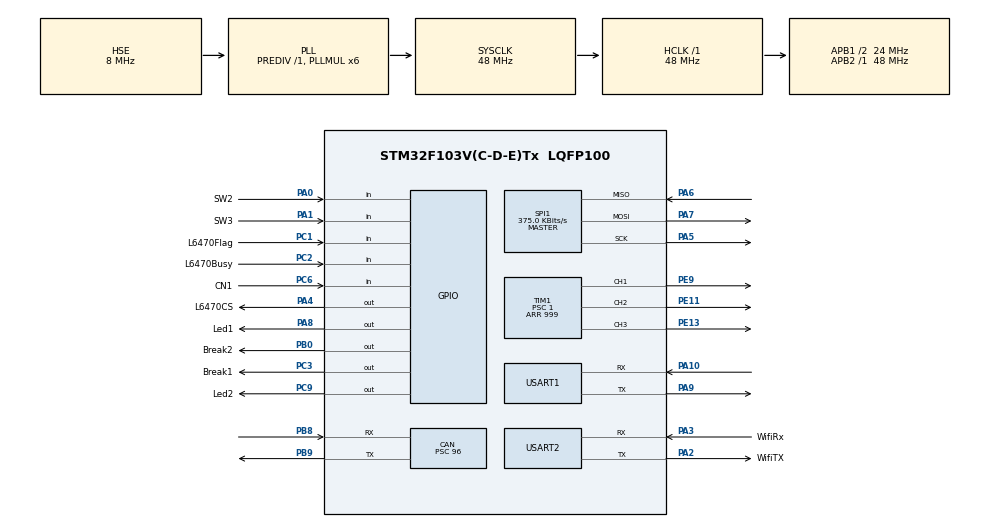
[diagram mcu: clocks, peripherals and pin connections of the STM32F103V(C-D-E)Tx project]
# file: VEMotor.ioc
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CAN.BS1=CAN_BS1_4TQ
CAN.BS2=CAN_BS2_2TQ
CAN.CalculateTimeBit=28000
CAN.CalculateTimeQuantum=4000.0
CAN.NART=DISABLE
CAN.Prescaler=96
CAN.TXFP=DISABLE
Dma.Request0=USART1_RX
Dma.Request1=USART1_TX
Dma.Request2=USART2_RX
Dma.Request3=USART2_TX
Dma.USART1_RX.0.Direction=DMA_PERIPH_TO_MEMORY
Dma.USART1_RX.0.Instance=DMA1_Channel5
Dma.USART1_RX.0.MemDataAlignment=DMA_MDATAALIGN_BYTE
Dma.USART1_RX.0.MemInc=DMA_MINC_ENABLE
Dma.USART1_RX.0.Mode=DMA_CIRCULAR
Dma.USART1_RX.0.PeriphDataAlignment=DMA_PDATAALIGN_BYTE
Dma.USART1_RX.0.PeriphInc=DMA_PINC_DISABLE
Dma.USART1_RX.0.Priority=DMA_PRIORITY_LOW
Dma.USART1_TX.1.Direction=DMA_MEMORY_TO_PERIPH
Dma.USART1_TX.1.Instance=DMA1_Channel4
Dma.USART1_TX.1.MemDataAlignment=DMA_MDATAALIGN_BYTE
Dma.USART1_TX.1.MemInc=DMA_MINC_ENABLE
Dma.USART1_TX.1.Mode=DMA_NORMAL
Dma.USART1_TX.1.PeriphDataAlignment=DMA_PDATAALIGN_BYTE
Dma.USART1_TX.1.PeriphInc=DMA_PINC_DISABLE
Dma.USART1_TX.1.Priority=DMA_PRIORITY_LOW
Dma.USART2_RX.2.Direction=DMA_PERIPH_TO_MEMORY
Dma.USART2_RX.2.Instance=DMA1_Channel6
Dma.USART2_RX.2.MemDataAlignment=DMA_MDATAALIGN_BYTE
Dma.USART2_RX.2.MemInc=DMA_MINC_ENABLE
Dma.USART2_RX.2.Mode=DMA_CIRCULAR
Dma.USART2_RX.2.PeriphDataAlignment=DMA_PDATAALIGN_BYTE
Dma.USART2_RX.2.PeriphInc=DMA_PINC_DISABLE
Dma.USART2_RX.2.Priority=DMA_PRIORITY_LOW
Dma.USART2_TX.3.Direction=DMA_MEMORY_TO_PERIPH
Dma.USART2_TX.3.Instance=DMA1_Channel7
Dma.USART2_TX.3.MemDataAlignment=DMA_MDATAALIGN_BYTE
Dma.USART2_TX.3.MemInc=DMA_MINC_ENABLE
Dma.USART2_TX.3.Mode=DMA_NORMAL
Dma.USART2_TX.3.PeriphDataAlignment=DMA_PDATAALIGN_BYTE
Dma.USART2_TX.3.PeriphInc=DMA_PINC_DISABLE
Dma.USART2_TX.3.Priority=DMA_PRIORITY_LOW
Mcu.Family=STM32F1
Mcu.Name=STM32F103V(C-D-E)Tx
Mcu.Package=LQFP100
NVIC.CAN1_RX1_IRQn=true\:0\:0\:false\:false\:true\:true\:true
NVIC.DMA1_Channel4_IRQn=true\:1\:0\:true\:false\:true\:false\:true
NVIC.DMA1_Channel5_IRQn=true\:1\:0\:true\:false\:true\:false\:true
NVIC.DMA1_Channel6_IRQn=true\:1\:0\:true\:false\:true\:false\:true
NVIC.DMA1_Channel7_IRQn=true\:1\:0\:true\:false\:true\:false\:true
NVIC.PriorityGroup=NVIC_PRIORITYGROUP_4
NVIC.USART1_IRQn=true\:2\:0\:true\:false\:true\:true\:true
NVIC.USART2_IRQn=true\:2\:0\:true\:false\:true\:true\:true
NVIC.USB_LP_CAN1_RX0_IRQn=true\:1\:0\:true\:false\:true\:true\:true
OSC_IN.Mode=HSE-External-Oscillator
OSC_IN.Signal=RCC_OSC_IN
OSC_OUT.Mode=HSE-External-Oscillator
OSC_OUT.Signal=RCC_OSC_OUT
PA0-WKUP.GPIO_Label=SW2
PA0-WKUP.GPIO_PuPd=GPIO_PULLUP
PA0-WKUP.Signal=GPIO_Input
PA1.GPIO_Label=SW3
PA1.GPIO_PuPd=GPIO_PULLUP
PA1.Signal=GPIO_Input
PA10.GPIO_PuPd=GPIO_PULLDOWN
PA10.Mode=Asynchronous
PA10.Signal=USART1_RX
PA13.Mode=Serial_Wire
PA13.Signal=SYS_JTMS-SWDIO
PA14.Mode=Serial_Wire
PA14.Signal=SYS_JTCK-SWCLK
PA2.GPIO_Label=WifiTX
PA2.Mode=Asynchronous
PA2.Signal=USART2_TX
PA3.GPIO_Label=WifiRx
PA3.Mode=Asynchronous
PA3.Signal=USART2_RX
PA4.GPIO_Label=L6470CS
PA4.Signal=GPIO_Output
PA5.Mode=Full_Duplex_Master
PA5.Signal=SPI1_SCK
PA6.Mode=Full_Duplex_Master
PA6.Signal=SPI1_MISO
PA7.Mode=Full_Duplex_Master
PA7.Signal=SPI1_MOSI
PA8.GPIO_Label=Led1
PA8.Signal=GPIO_Output
PA9.Mode=Asynchronous
PA9.Signal=USART1_TX
PB0.GPIO_Label=Break2
PB0.GPIO_PuPd=GPIO_PULLDOWN
PB0.Signal=GPIO_Output
PB8.Mode=Master
PB8.Signal=CAN_RX
PB9.Mode=Master
PB9.Signal=CAN_TX
PC1.GPIO_Label=L6470Flag
PC1.GPIO_PuPd=GPIO_PULLUP
PC1.Signal=GPIO_Input
PC2.GPIO_Label=L6470Busy
PC2.GPIO_PuPd=GPIO_PULLUP
PC2.Signal=GPIO_Input
PC3.GPIO_Label=Break1
PC3.GPIO_PuPd=GPIO_PULLDOWN
PC3.Signal=GPIO_Output
PC6.GPIO_Label=CN1
PC6.Signal=GPIO_Input
PC9.GPIO_Label=Led2
PC9.Signal=GPIO_Output
PE11.Signal=S_TIM1_CH2
PE13.Signal=S_TIM1_CH3
PE9.Signal=S_TIM1_CH1
ProjectManager.HeapSize=0x200
ProjectManager.StackSize=0x400
ProjectManager.TargetToolchain=STM32CubeIDE
RCC.AHBFreq_Value=48000000
RCC.APB1CLKDivider=RCC_HCLK_DIV2
RCC.APB1Freq_Value=24000000
RCC.APB1TimFreq_Value=48000000
RCC.APB2Freq_Value=48000000
RCC.APB2TimFreq_Value=48000000
RCC.HCLKFreq_Value=48000000
RCC.PLLMUL=RCC_PLL_MUL6
RCC.PLLSourceVirtual=RCC_PLLSOURCE_HSE
RCC.SYSCLKFreq_VALUE=48000000
RCC.SYSCLKSource=RCC_SYSCLKSOURCE_PLLCLK
RCC.USBFreq_Value=48000000
SH.S_TIM1_CH1.0=TIM1_CH1,PWM Generation1 CH1
SH.S_TIM1_CH2.0=TIM1_CH2,PWM Generation2 CH2
SH.S_TIM1_CH3.0=TIM1_CH3,PWM Generation3 CH3
SPI1.BaudRatePrescaler=SPI_BAUDRATEPRESCALER_128
SPI1.CLKPhase=SPI_PHASE_2EDGE
SPI1.CLKPolarity=SPI_POLARITY_HIGH
SPI1.CRCCalculation=SPI_CRCCALCULATION_DISABLE
SPI1.CalculateBaudRate=375.0 KBits/s
SPI1.Direction=SPI_DIRECTION_2LINES
SPI1.Mode=SPI_MODE_MASTER
SPI1.VirtualType=VM_MASTER
TIM1.Channel-PWM\ Generation1\ CH1=TIM_CHANNEL_1
TIM1.Channel-PWM\ Generation2\ CH2=TIM_CHANNEL_2
TIM1.Channel-PWM\ Generation3\ CH3=TIM_CHANNEL_3
TIM1.Period=999
TIM1.Prescaler=1
USART1.VirtualMode=VM_ASYNC
USART2.VirtualMode=VM_ASYNC
VP_TIM1_VS_ClockSourceINT.Mode=Internal
board=custom

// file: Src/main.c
/* USER CODE BEGIN Header */
/**
 ******************************************************************************
 * @file           : main.c
 * @brief          : Main program body
 ******************************************************************************
 * @attention
 *
 * <h2><center>&copy; Copyright (c) 2020 STMicroelectronics.
 * All rights reserved.</center></h2>
 *
 * This software component is licensed by ST under BSD 3-Clause license,
 * the "License"; You may not use this file except in compliance with the
 * License. You may obtain a copy of the License at:
 *                        opensource.org/licenses/BSD-3-Clause
 *
 ******************************************************************************
 */
/* USER CODE END Header */

#include "main.h"

/* USER CODE BEGIN Includes */
#include <string.h>
#include <stdio.h>
#include "Dspin/dspin.h"
#include "config.h"
#include "util.h"
#include "cycletick.h"
#include "log_uart.h"
#include "inputbuf.h"

#include "lm.h"
#include "can_io.h"
#include "command.h"
#include "led.h"
#include "flash.h"

#if WIFI_ENABLE==1
#include "wifi8266/wifi_8266_mod.h"
#endif

/* USER CODE END Includes */

CAN_HandleTypeDef hcan;

SPI_HandleTypeDef hspi1;

TIM_HandleTypeDef htim1;

UART_HandleTypeDef huart1;
UART_HandleTypeDef huart2;
DMA_HandleTypeDef hdma_usart1_rx;
DMA_HandleTypeDef hdma_usart1_tx;
DMA_HandleTypeDef hdma_usart2_rx;
DMA_HandleTypeDef hdma_usart2_tx;

/* USER CODE BEGIN PV */

/* runtime variables */
// led
int led1_blink = 0;
int led2_blink = 0;

// cn1 press
int lm_home_set = 0; // 在CN1按下的期间有没有校准过HOME位置

// motor
struct lm_handle lmh;
struct lm_handle *plmh = &lmh;

// usart input buffer
struct inputbuf userbuf;

// reset tick
uint32_t chip_reset_time = 0;
/* USER CODE END PV */

void SystemClock_Config(void);
static void MX_GPIO_Init(void);
static void MX_DMA_Init(void);
static void MX_SPI1_Init(void);
static void MX_USART1_UART_Init(void);
static void MX_CAN_Init(void);
static void MX_USART2_UART_Init(void);
static void MX_TIM1_Init(void);
/* USER CODE BEGIN PFP */
void detect_cn1();
void detect_sw2();
void detect_sw3();
void main_can_isr(uint8_t *data, uint8_t len, uint16_t from, _Bool is_broadcast);
void can_reply_isr(_Bool ok, uint16_t from);
void led1_flip();
void led2_flip();
void txcplt_report();
void stm_chip_reset_commit();
void load_configurations();
/* USER CODE END PFP */

int main(void) {

	/* MCU Configuration--------------------------------------------------------*/

	/* Reset of all peripherals, Initializes the Flash interface and the Systick. */
	HAL_Init();

	/* Configure the system clock */
	SystemClock_Config();

	/* Initialize all configured peripherals */
	MX_GPIO_Init();
	MX_DMA_Init();
	MX_SPI1_Init();
	MX_USART1_UART_Init();
	MX_CAN_Init();
	MX_USART2_UART_Init();
	MX_TIM1_Init();
	/* USER CODE BEGIN 2 */

	// init log module first for basic output
	logu_init(&huart1, LOGU_DMA);
	// logu_setlevel(LOGU_DEBUG);
	logu_setlevel(LOGU_TRACE);

	// 初始化的过程
	logu_s(LOGU_DEBUG, "Start initializing.");
	load_configurations();
	can_init(machine_id);
	can_set_cmdlistener(main_can_isr);
	can_set_replylistener(can_reply_isr);
	// motor init
	logu_s(LOGU_DEBUG, "Wait 0.3s for L6470 init.");
	HAL_Delay(300);
	L6470_Configuration1();
	lm_init(plmh);
	// led init
	led_init(&htim1, TIM_CHANNEL_2, TIM_CHANNEL_3, TIM_CHANNEL_1);
	// user inputbuf
	inputbuf_init_stack(&userbuf, &huart1);
	flash_init();

#if WIFI_ENABLE == 1
	logu_s(LOGU_DEBUG, "Wait 2 seconds for ESP8266 to init.");
	while (HAL_GetTick() < 2000) {
	} // wait some time for ESP8266 init
#if INIT_WIFI_CONNECT == 1
	uint32_t tick1 = HAL_GetTick();
	uint32_t wait_time = machine_id * WIFI_INIT_CONNECT_TIME_INTEVAL;
	logu_f(LOGU_INFO, "Wait %u seconds for non-collision WiFi connection.", wait_time / 1000);
	while (HAL_GetTick() - tick1 < wait_time) {
	}
	wifi_autosetup_tasklist();
#endif
#endif

#if INIT_MOTOR_MOVE == 1
	logu_s(LOGU_DEBUG, "Moving to initial position.");
	lm_append_newcmd(plmh, lm_cmd_speed, 10000, 1);
	if (lm_commit(plmh)) {
		uint32_t init_tick = HAL_GetTick();
		while (1) {
			detect_cn1();
			if (cn1_pressed()) {
				logu_s(LOGU_DEBUG, "Moving finished");
				lm_append_newcmd(plmh, lm_cmd_stop, 0, 0);
				lm_commit(plmh);
				break;
			} else if (HAL_GetTick() - init_tick > 10000) {
				logu_s(LOGU_ERROR, "Moving timeout.");
				lm_append_newcmd(plmh, lm_cmd_stop, 0, 0);
				lm_commit(plmh);
				break;
			}
		}
	} else {
		logu_s(LOGU_ERROR, "Reset position failed.");
	}
#else
	logu_s(LOGU_DEBUG, "Skip motor move.");
#endif

	logu_s(LOGU_DEBUG, "Initialize finished.");

	// input receive kick start
	inputbuf_start(&userbuf);

#if WIFI_ENABLE==1
	// WiFi receive kick start
	huart2.Instance->SR;
	huart2.Instance->DR;
	__HAL_UART_ENABLE_IT(&huart2, UART_IT_IDLE);
	HAL_UART_Receive_DMA(&huart2, (uint8_t*) (wifi_gethandler()->recv.data), WIFI_RECV_DMA_RANGE);
#endif

	// turn off LED2 after init
	Led2_GPIO_Port->ODR |= Led2_Pin;

	logu_s(LOGU_DEBUG, "Start listening.");

	/* USER CODE END 2 */

	/* Infinite loop */
	/* USER CODE BEGIN WHILE */
	while (1) {
		cycletick_start();
		if(chip_reset_time && HAL_GetTick() > chip_reset_time) {
			stm_chip_reset_commit();
		}

		if (led1_blink) {
			if (cycletick_everyms(led1_blink)) {
				led1_flip();
			}
		}
		if (led2_blink) {
			if (cycletick_everyms(led2_blink)) {
				led2_flip();
			}
		}

		// detect switch on CN1
		detect_cn1();
		detect_sw2();
		detect_sw3();

		// motor state refresh
		lm_tick(plmh);
		// led grad
		led_tick();

#if WIFI_ENABLE == 1
		// wifi received data to user serial
		wifi_rx_to_uart();
		// try to parse wifi received data as a command
		wifi_parse_cmd(plmh);
		// wifi tick
		wifi_tick(wifi_gethandler(), wifi_tick_callback);
#if WIFI_CHECK_TCP == 1
		if (cycletick_everyms(10000))
			wifi_check_connection_tasklist();
#endif

#if WIFI_GREET == 1
		// wifi greets every ten second
		wifi_greet_1();
#endif
#endif

		// read input buffer and switch
		command_read(plmh);

		// cycle test 放在输入的位置后面
		mcycle_cmd(plmh, cycletick_getcount());

		// 在这里取出读入的第一条指令，我们限制每次主循环只在电机上执行一条指令，
		// 这是为了时序和逻辑安全最好的办法。
		// 取出指令的目的是为了检测这条指令需不需要被覆盖取消。
		// 覆盖指令的操作都要确保这个指令之后确实用不到，不需要在下个周期重新触发。
		struct lm_cmd *lcf = lm_first(plmh);
		if (lcf == NULL) {
			// 如果命令队列是空的话，那么这里制作一个命令。
			lm_append_newcmd(plmh, lm_cmd_empty, 0, 0);
			lcf = lm_first(plmh);
		}
		struct lm_model lmmod = plmh->mod; // make a copy of volatile model

		// if cn1 is pressed only stop 1 - FWD - close direction
		if (cn1_pressed()) {
			// cn1 按下的时候重置 home，这个只能在按下期间执行，
			// 因为在 pos 状态下重置 home 会发生惨剧，会把现在高速移动的某个位置标记成HOME，
			// 导致在向外移动的过程里面如果按下HOME那么就会冲出范围。
			// 在向内移动的过程中按下HOME会在下一次向外运动的时候冲出范围。
			// 所以以我关闭了pos运动模式里面的误差矫正。
			// 只有匀速运动的模式里面按下cn1会矫正位置。
			// 如果要解决越来越向内的误差的话，在使用POS命令的时候，在收回的时候留一些空档。
			if (!lm_home_set && lmmod.state != lm_state_pos) {
				logu_s(LOGU_INFO, "Set home");
				lcf->type = lm_cmd_set_home;
			}
			if ((lcf->type == lm_cmd_speed && lcf->dir_hard == 1)
					|| (lcf->type == lm_cmd_relapos && lcf->pos_speed > 0)
					|| ((lmmod.state == lm_state_speed || lmmod.state == lm_state_relapos) && lmmod.dir == 1)
					|| (lcf->type == lm_cmd_pos && lcf->pos_speed > 0)
					|| (lmmod.state == lm_state_pos && lmmod.pos > 0)) {
				logu_s(LOGU_WARN, "Stop motor due to CN1.");
				lcf->type = lm_cmd_stop;
				lcf->dir_hard = 1;
			}
		} else {
			lm_home_set = 0;
		}

		// TODO 如果过冲进入了大电流保护状态那么重置 L6470
		//
		/* USER CODE END WHILE */

		/* USER CODE BEGIN 3 */
		if (lcf->type == lm_cmd_set_home) {
			lm_home_set = 1;
		}
		lm_commit(plmh);
		// log report
#ifdef LOG_TXCPLT_REPORT
		txcplt_report();
#endif
		cycletick_sleeptoend();
	}
	/* USER CODE END 3 */
}

void SystemClock_Config(void) {
	RCC_OscInitTypeDef RCC_OscInitStruct = { 0 };
	RCC_ClkInitTypeDef RCC_ClkInitStruct = { 0 };

	/** Initializes the CPU, AHB and APB busses clocks
	 */
	RCC_OscInitStruct.OscillatorType = RCC_OSCILLATORTYPE_HSE;
	RCC_OscInitStruct.HSEState = RCC_HSE_ON;
	RCC_OscInitStruct.HSEPredivValue = RCC_HSE_PREDIV_DIV1;
	RCC_OscInitStruct.HSIState = RCC_HSI_ON;
	RCC_OscInitStruct.PLL.PLLState = RCC_PLL_ON;
	RCC_OscInitStruct.PLL.PLLSource = RCC_PLLSOURCE_HSE;
	RCC_OscInitStruct.PLL.PLLMUL = RCC_PLL_MUL6;
	if (HAL_RCC_OscConfig(&RCC_OscInitStruct) != HAL_OK) {
		Error_Handler();
	}
	/** Initializes the CPU, AHB and APB busses clocks
	 */
	RCC_ClkInitStruct.ClockType = RCC_CLOCKTYPE_HCLK | RCC_CLOCKTYPE_SYSCLK | RCC_CLOCKTYPE_PCLK1 | RCC_CLOCKTYPE_PCLK2;
	RCC_ClkInitStruct.SYSCLKSource = RCC_SYSCLKSOURCE_PLLCLK;
	RCC_ClkInitStruct.AHBCLKDivider = RCC_SYSCLK_DIV1;
	RCC_ClkInitStruct.APB1CLKDivider = RCC_HCLK_DIV2;
	RCC_ClkInitStruct.APB2CLKDivider = RCC_HCLK_DIV1;

	if (HAL_RCC_ClockConfig(&RCC_ClkInitStruct, FLASH_LATENCY_1) != HAL_OK) {
		Error_Handler();
	}
}

static void MX_CAN_Init(void) {

	hcan.Instance = CAN1;
	hcan.Init.Prescaler = 96;
	hcan.Init.Mode = CAN_MODE_NORMAL;
	hcan.Init.SyncJumpWidth = CAN_SJW_1TQ;
	hcan.Init.TimeSeg1 = CAN_BS1_4TQ;
	hcan.Init.TimeSeg2 = CAN_BS2_2TQ;
	hcan.Init.TimeTriggeredMode = DISABLE;
	hcan.Init.AutoBusOff = DISABLE;
	hcan.Init.AutoWakeUp = DISABLE;
	hcan.Init.AutoRetransmission = DISABLE;
	hcan.Init.ReceiveFifoLocked = DISABLE;
	hcan.Init.TransmitFifoPriority = DISABLE;
	if (HAL_CAN_Init(&hcan) != HAL_OK) {
		Error_Handler();
	}

}

static void MX_SPI1_Init(void) {

	/* SPI1 parameter configuration*/
	hspi1.Instance = SPI1;
	hspi1.Init.Mode = SPI_MODE_MASTER;
	hspi1.Init.Direction = SPI_DIRECTION_2LINES;
	hspi1.Init.DataSize = SPI_DATASIZE_8BIT;
	hspi1.Init.CLKPolarity = SPI_POLARITY_HIGH;
	hspi1.Init.CLKPhase = SPI_PHASE_2EDGE;
	hspi1.Init.NSS = SPI_NSS_SOFT;
	hspi1.Init.BaudRatePrescaler = SPI_BAUDRATEPRESCALER_128;
	hspi1.Init.FirstBit = SPI_FIRSTBIT_MSB;
	hspi1.Init.TIMode = SPI_TIMODE_DISABLE;
	hspi1.Init.CRCCalculation = SPI_CRCCALCULATION_DISABLE;
	hspi1.Init.CRCPolynomial = 10;
	if (HAL_SPI_Init(&hspi1) != HAL_OK) {
		Error_Handler();
	}

}

static void MX_TIM1_Init(void) {

	TIM_ClockConfigTypeDef sClockSourceConfig = { 0 };
	TIM_MasterConfigTypeDef sMasterConfig = { 0 };
	TIM_OC_InitTypeDef sConfigOC = { 0 };
	TIM_BreakDeadTimeConfigTypeDef sBreakDeadTimeConfig = { 0 };

	htim1.Instance = TIM1;
	htim1.Init.Prescaler = 1;
	htim1.Init.CounterMode = TIM_COUNTERMODE_UP;
	htim1.Init.Period = 999;
	htim1.Init.ClockDivision = TIM_CLOCKDIVISION_DIV1;
	htim1.Init.RepetitionCounter = 0;
	htim1.Init.AutoReloadPreload = TIM_AUTORELOAD_PRELOAD_DISABLE;
	if (HAL_TIM_Base_Init(&htim1) != HAL_OK) {
		Error_Handler();
	}
	sClockSourceConfig.ClockSource = TIM_CLOCKSOURCE_INTERNAL;
	if (HAL_TIM_ConfigClockSource(&htim1, &sClockSourceConfig) != HAL_OK) {
		Error_Handler();
	}
	if (HAL_TIM_PWM_Init(&htim1) != HAL_OK) {
		Error_Handler();
	}
	sMasterConfig.MasterOutputTrigger = TIM_TRGO_RESET;
	sMasterConfig.MasterSlaveMode = TIM_MASTERSLAVEMODE_DISABLE;
	if (HAL_TIMEx_MasterConfigSynchronization(&htim1, &sMasterConfig) != HAL_OK) {
		Error_Handler();
	}
	sConfigOC.OCMode = TIM_OCMODE_PWM1;
	sConfigOC.Pulse = 0;
	sConfigOC.OCPolarity = TIM_OCPOLARITY_HIGH;
	sConfigOC.OCNPolarity = TIM_OCNPOLARITY_HIGH;
	sConfigOC.OCFastMode = TIM_OCFAST_DISABLE;
	sConfigOC.OCIdleState = TIM_OCIDLESTATE_RESET;
	sConfigOC.OCNIdleState = TIM_OCNIDLESTATE_RESET;
	if (HAL_TIM_PWM_ConfigChannel(&htim1, &sConfigOC, TIM_CHANNEL_1) != HAL_OK) {
		Error_Handler();
	}
	if (HAL_TIM_PWM_ConfigChannel(&htim1, &sConfigOC, TIM_CHANNEL_2) != HAL_OK) {
		Error_Handler();
	}
	if (HAL_TIM_PWM_ConfigChannel(&htim1, &sConfigOC, TIM_CHANNEL_3) != HAL_OK) {
		Error_Handler();
	}
	sBreakDeadTimeConfig.OffStateRunMode = TIM_OSSR_DISABLE;
	sBreakDeadTimeConfig.OffStateIDLEMode = TIM_OSSI_DISABLE;
	sBreakDeadTimeConfig.LockLevel = TIM_LOCKLEVEL_OFF;
	sBreakDeadTimeConfig.DeadTime = 0;
	sBreakDeadTimeConfig.BreakState = TIM_BREAK_DISABLE;
	sBreakDeadTimeConfig.BreakPolarity = TIM_BREAKPOLARITY_HIGH;
	sBreakDeadTimeConfig.AutomaticOutput = TIM_AUTOMATICOUTPUT_DISABLE;
	if (HAL_TIMEx_ConfigBreakDeadTime(&htim1, &sBreakDeadTimeConfig) != HAL_OK) {
		Error_Handler();
	}
	HAL_TIM_MspPostInit(&htim1);

}

static void MX_USART1_UART_Init(void) {

	huart1.Instance = USART1;
	huart1.Init.BaudRate = 115200;
	huart1.Init.WordLength = UART_WORDLENGTH_8B;
	huart1.Init.StopBits = UART_STOPBITS_1;
	huart1.Init.Parity = UART_PARITY_NONE;
	huart1.Init.Mode = UART_MODE_TX_RX;
	huart1.Init.HwFlowCtl = UART_HWCONTROL_NONE;
	huart1.Init.OverSampling = UART_OVERSAMPLING_16;
	if (HAL_UART_Init(&huart1) != HAL_OK) {
		Error_Handler();
	}

}

static void MX_USART2_UART_Init(void) {

	huart2.Instance = USART2;
	huart2.Init.BaudRate = 115200;
	huart2.Init.WordLength = UART_WORDLENGTH_8B;
	huart2.Init.StopBits = UART_STOPBITS_1;
	huart2.Init.Parity = UART_PARITY_NONE;
	huart2.Init.Mode = UART_MODE_TX_RX;
	huart2.Init.HwFlowCtl = UART_HWCONTROL_NONE;
	huart2.Init.OverSampling = UART_OVERSAMPLING_16;
	if (HAL_UART_Init(&huart2) != HAL_OK) {
		Error_Handler();
	}

}

static void MX_DMA_Init(void) {

	/* DMA controller clock enable */
	__HAL_RCC_DMA1_CLK_ENABLE();

	/* DMA interrupt init */
	/* DMA1_Channel4_IRQn interrupt configuration */
	HAL_NVIC_SetPriority(DMA1_Channel4_IRQn, 1, 0);
	HAL_NVIC_EnableIRQ(DMA1_Channel4_IRQn);
	/* DMA1_Channel5_IRQn interrupt configuration */
	HAL_NVIC_SetPriority(DMA1_Channel5_IRQn, 1, 0);
	HAL_NVIC_EnableIRQ(DMA1_Channel5_IRQn);
	/* DMA1_Channel6_IRQn interrupt configuration */
	HAL_NVIC_SetPriority(DMA1_Channel6_IRQn, 1, 0);
	HAL_NVIC_EnableIRQ(DMA1_Channel6_IRQn);
	/* DMA1_Channel7_IRQn interrupt configuration */
	HAL_NVIC_SetPriority(DMA1_Channel7_IRQn, 1, 0);
	HAL_NVIC_EnableIRQ(DMA1_Channel7_IRQn);

}

static void MX_GPIO_Init(void) {
	GPIO_InitTypeDef GPIO_InitStruct = { 0 };

	/* GPIO Ports Clock Enable */
	__HAL_RCC_GPIOC_CLK_ENABLE();
	__HAL_RCC_GPIOA_CLK_ENABLE();
	__HAL_RCC_GPIOB_CLK_ENABLE();
	__HAL_RCC_GPIOE_CLK_ENABLE();

	/*Configure GPIO pin Output Level */
	HAL_GPIO_WritePin(GPIOC, Break1_Pin | Led2_Pin, GPIO_PIN_RESET);

	/*Configure GPIO pin Output Level */
	HAL_GPIO_WritePin(GPIOA, L6470CS_Pin | Led1_Pin, GPIO_PIN_RESET);

	/*Configure GPIO pin Output Level */
	HAL_GPIO_WritePin(Break2_GPIO_Port, Break2_Pin, GPIO_PIN_RESET);

	/*Configure GPIO pins : L6470Flag_Pin L6470Busy_Pin */
	GPIO_InitStruct.Pin = L6470Flag_Pin | L6470Busy_Pin;
	GPIO_InitStruct.Mode = GPIO_MODE_INPUT;
	GPIO_InitStruct.Pull = GPIO_PULLUP;
	HAL_GPIO_Init(GPIOC, &GPIO_InitStruct);

	/*Configure GPIO pin : Break1_Pin */
	GPIO_InitStruct.Pin = Break1_Pin;
	GPIO_InitStruct.Mode = GPIO_MODE_OUTPUT_PP;
	GPIO_InitStruct.Pull = GPIO_PULLDOWN;
	GPIO_InitStruct.Speed = GPIO_SPEED_FREQ_LOW;
	HAL_GPIO_Init(Break1_GPIO_Port, &GPIO_InitStruct);

	/*Configure GPIO pins : SW2_Pin SW3_Pin */
	GPIO_InitStruct.Pin = SW2_Pin | SW3_Pin;
	GPIO_InitStruct.Mode = GPIO_MODE_INPUT;
	GPIO_InitStruct.Pull = GPIO_PULLUP;
	HAL_GPIO_Init(GPIOA, &GPIO_InitStruct);

	/*Configure GPIO pins : L6470CS_Pin Led1_Pin */
	GPIO_InitStruct.Pin = L6470CS_Pin | Led1_Pin;
	GPIO_InitStruct.Mode = GPIO_MODE_OUTPUT_PP;
	GPIO_InitStruct.Pull = GPIO_NOPULL;
	GPIO_InitStruct.Speed = GPIO_SPEED_FREQ_LOW;
	HAL_GPIO_Init(GPIOA, &GPIO_InitStruct);

	/*Configure GPIO pin : Break2_Pin */
	GPIO_InitStruct.Pin = Break2_Pin;
	GPIO_InitStruct.Mode = GPIO_MODE_OUTPUT_PP;
	GPIO_InitStruct.Pull = GPIO_PULLDOWN;
	GPIO_InitStruct.Speed = GPIO_SPEED_FREQ_LOW;
	HAL_GPIO_Init(Break2_GPIO_Port, &GPIO_InitStruct);

	/*Configure GPIO pin : CN1_Pin */
	GPIO_InitStruct.Pin = CN1_Pin;
	GPIO_InitStruct.Mode = GPIO_MODE_INPUT;
	GPIO_InitStruct.Pull = GPIO_NOPULL;
	HAL_GPIO_Init(CN1_GPIO_Port, &GPIO_InitStruct);

	/*Configure GPIO pin : Led2_Pin */
	GPIO_InitStruct.Pin = Led2_Pin;
	GPIO_InitStruct.Mode = GPIO_MODE_OUTPUT_PP;
	GPIO_InitStruct.Pull = GPIO_NOPULL;
	GPIO_InitStruct.Speed = GPIO_SPEED_FREQ_LOW;
	HAL_GPIO_Init(Led2_GPIO_Port, &GPIO_InitStruct);

}

/* USER CODE BEGIN 4 */
// ----------- Interrupts
// DMA Signals
static uint32_t txcpltcount = 0;
void HAL_UART_TxCpltCallback(UART_HandleTypeDef *huart) {
	if (huart == logu_getport()) {
		txcpltcount++;
		logu_dma_txcplt_callback();
	}
}
void HAL_UART_RxHalfCpltCallback(UART_HandleTypeDef *huart) {
	if (huart == &huart1) {
		logu_s(LOGU_TRACE, "uart input buffer cycle half complete");
		inputbuf_rxhalfcplt_callback(&userbuf);
	}
}
void HAL_UART_RxCpltCallback(UART_HandleTypeDef *huart) {
	if (huart == &huart1) {
		logu_s(LOGU_TRACE, "uart input buffer cycle complete");
		inputbuf_rxcplt_callback(&userbuf);
	} else if (huart == &huart2) {
#if WIFI_ENABLE==1
		logu_s(LOGU_TRACE, "wifi rx buffer cycle complete");
		Wifi_HandleTypeDef *hwifi = wifi_gethandler();
		hwifi->recv.idle = 1;
		hwifi->recv.len = WIFI_RECV_DMA_RANGE;
#endif
	}
}

void HAL_UART_ErrorCallback(UART_HandleTypeDef *huart) {
	if (huart == &huart1) {
		led2_blink = 2000;
		inputbuf_error_handler(&userbuf);
	} else if (huart == &huart2) {
#if WIFI_ENABLE == 1
		logu_s(LOGU_ERROR, "WiFi UART port Rx/Tx error.");
		led2_blink = 500;
		HAL_UART_DMAStop(huart);
		HAL_UART_Receive_DMA(&huart2, (uint8_t*) (wifi_gethandler()->recv.data), WIFI_RECV_DMA_RANGE);
#endif
	}
}

void txcplt_report() {
	if (cycletick_everyms(10000)) {
		logu_f(LOGU_DEBUG, "log report: wrote %lu times in last 1000 cycles.", txcpltcount);
		txcpltcount = 0;
	}
}

// Interrupt Routine For Serial IDLE
void cmd_serial_int(UART_HandleTypeDef *huart) {
	if (huart == &huart1) {
		if (__HAL_UART_GET_FLAG(huart, USART_SR_IDLE))
			inputbuf_idleinterrupt(&userbuf);
	}
}

// Interrupt Routine For WiFi IDLE
void wifi_serial_int(UART_HandleTypeDef *huart) {
	if (huart == &huart2) {
#if WIFI_ENABLE==1
		wifi_rx_idle_int(wifi_gethandler(), &hdma_usart2_rx);
#endif
	}
}

struct inputbuf* getuserbuf() {
	return &userbuf;
}

struct gpio_switch {
	GPIO_TypeDef *port;
	uint16_t pin;
	const char *name;
	int hold_count;
	_Bool pressed;
};
_Bool detect_switch(struct gpio_switch *swi) {
	if (!(swi->port->IDR & swi->pin)) {
		if (swi->hold_count >= 5) {
			if (!swi->pressed) {
				logu_f(LOGU_DEBUG, "%s pressed.", swi->name);
				swi->pressed = 1;
			}
		} else {
			swi->hold_count++;
		}
	} else {
		swi->hold_count = 0;
		swi->pressed = 0;
	}
	return swi->pressed;
}

static struct gpio_switch cn1_swi = { .port = CN1_GPIO_Port, .pin = CN1_Pin, .name = "CN1", };
void detect_cn1() {
	detect_switch(&cn1_swi);
}
int cn1_pressed() {
	return cn1_swi.pressed;
}

static struct gpio_switch sw2_swi = { .port = SW2_GPIO_Port, .pin = SW2_Pin, .name = "SW2", };
void detect_sw2() {
	detect_switch(&sw2_swi);
}
int sw2_pressed() {
	return sw2_swi.pressed;
}

static struct gpio_switch sw3_swi = { .port = SW3_GPIO_Port, .pin = SW3_Pin, .name = "SW3", };
void detect_sw3() {
	detect_switch(&sw3_swi);
}
int sw3_pressed() {
	return sw3_swi.pressed;
}

// CAN read
void main_can_isr(uint8_t *data, uint8_t len, uint16_t from, _Bool is_broadcast) {
	cmd_can_isr((char*) data, len, from, is_broadcast, plmh);
}

void can_reply_isr(_Bool ok, uint16_t from) {
	static char buf[40];
	char *st = ok ? "OK" : "FAIL";
	int len = snprintf(buf, 40, "<#%hu %s>\r\n", from, st);
	if (len > 0 && len < 40) {
		logu_raw(buf, len);
#if WIFI_ENABLE == 1
		wifi_send_tasklist(buf, 0);
#endif
	} else {
		led2_blink = 1000;
	}
}

// LED
void led1_flip() {
	Led1_GPIO_Port->ODR ^= Led1_Pin;
}
void led2_flip() {
	Led2_GPIO_Port->ODR ^= Led2_Pin;
}

// Flash Load
void load_configurations() {
	logu_s(LOGU_DEBUG, "Start loading config.");
	if (!flash_load_machineid(&machine_id)) {
		logu_f(LOGU_WARN, "No machine id stored in flash, using default: %u.", (uint32_t) machine_id);
	} else {
		logu_f(LOGU_INFO, "using machine id: %u.", (uint32_t) machine_id);
	}
	if (!flash_load_wifissid(wifi_conf_ssid)) {
		logu_f(LOGU_WARN, "No WiFi ssid stored in flash, using default: %s.", wifi_conf_ssid);
	} else {
		logu_f(LOGU_INFO, "using ssid: %s.", wifi_conf_ssid);
	}
	if (!flash_load_wifipwd(wifi_conf_pwd)) {
		logu_f(LOGU_WARN, "No WiFi pwd stored in flash, using default: %s.", wifi_conf_pwd);
	} else {
		logu_f(LOGU_INFO, "using wifi pwd: %s.", wifi_conf_pwd);
	}
	if (!flash_load_tcpip(wifi_conf_tcpip)) {
		logu_f(LOGU_WARN, "No TCP Server IP stored in flash, using default: %s.", wifi_conf_tcpip);
	} else {
		logu_f(LOGU_INFO, "using tcp server ip: %s.", wifi_conf_tcpip);
	}
	if (!flash_load_tcpport(&wifi_conf_tcpport)) {
		logu_f(LOGU_WARN, "No TCP Server Port stored in flash, using default: %hu.", wifi_conf_tcpport);
	} else {
		logu_f(LOGU_INFO, "using tcp server port: %hu.", wifi_conf_tcpport);
	}
	if (!flash_load_motorlimitin(&lm_conf_limit_in)) {
		logu_f(LOGU_WARN, "No motor_limit_in stored in flash, using default: %d.", lm_conf_limit_in);
	} else {
		logu_f(LOGU_INFO, "using limit_in: %d.", lm_conf_limit_in);
	}
	if (!flash_load_motorlimitout(&lm_conf_limit_out)) {
		logu_f(LOGU_WARN, "No motor_limit_out stored out flash, using default: %d.", lm_conf_limit_out);
	} else {
		logu_f(LOGU_INFO, "using limit_out: %d.", lm_conf_limit_out);
	}
	logu_s(LOGU_DEBUG, "Finish loading config.");
}

// Chip reset
void stm_chip_reset(uint32_t tick) {
	logu_f(LOGU_WARN, "RESET CHIP IN %u MS.", tick);
	chip_reset_time = HAL_GetTick() + tick;
}
void stm_chip_reset_commit() {
	chip_reset_time = 0;
	HAL_NVIC_SystemReset();
}

/* USER CODE END 4 */

void Error_Handler(void) {
	/* USER CODE BEGIN Error_Handler_Debug */
	/* User can add his own implementation to report the HAL error return state */
	led1_blink = 1000;
	/* USER CODE END Error_Handler_Debug */
}

#ifdef  USE_FULL_ASSERT
/**
 * @brief  Reports the name of the source file and the source line number
 *         where the assert_param error has occurred.
 * @param  file: pointer to the source file name
 * @param  line: assert_param error line source number
 * @retval None
 */
void assert_failed(uint8_t *file, uint32_t line) {
	/* USER CODE BEGIN 6 */
	/* User can add his own implementation to report the file name and line number,
	 tex: printf("Wrong parameters value: file %s on line %d\r\n", file, line) */
	logu_f(LOGU_ERROR, "Assert failed: %s line %lu.", file, line);
	/* USER CODE END 6 */
}
#endif /* USE_FULL_ASSERT */

/************************ (C) COPYRIGHT STMicroelectronics *****END OF FILE****/
